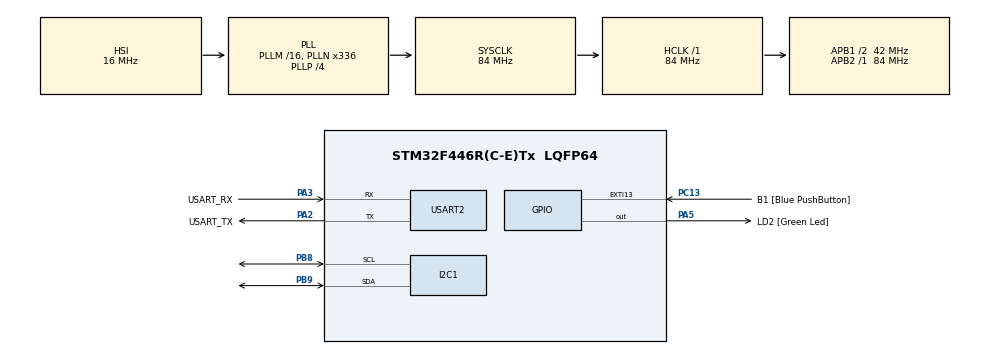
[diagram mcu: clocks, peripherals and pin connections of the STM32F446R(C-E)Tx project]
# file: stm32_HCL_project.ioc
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Mcu.Family=STM32F4
Mcu.Name=STM32F446R(C-E)Tx
Mcu.Package=LQFP64
NVIC.PriorityGroup=NVIC_PRIORITYGROUP_0
NVIC.USART2_IRQn=true\:0\:0\:false\:false\:true\:true\:true\:true
PA13.GPIO_Label=TMS
PA13.Mode=Serial_Wire
PA13.Signal=SYS_JTMS-SWDIO
PA14.GPIO_Label=TCK
PA14.Mode=Serial_Wire
PA14.Signal=SYS_JTCK-SWCLK
PA2.GPIO_Label=USART_TX
PA2.Mode=Asynchronous
PA2.Signal=USART2_TX
PA3.GPIO_Label=USART_RX
PA3.Mode=Asynchronous
PA3.Signal=USART2_RX
PA5.GPIO_Label=LD2 [Green Led]
PA5.Signal=GPIO_Output
PB3.GPIO_Label=SWO
PB3.Signal=SYS_JTDO-SWO
PB8.Mode=I2C
PB8.Signal=I2C1_SCL
PB9.Mode=I2C
PB9.Signal=I2C1_SDA
PC13.GPIO_Label=B1 [Blue PushButton]
PC13.GPIO_ModeDefaultEXTI=GPIO_MODE_IT_FALLING
PC13.Signal=GPXTI13
PC14-OSC32_IN.Mode=LSE-External-Oscillator
PC14-OSC32_IN.Signal=RCC_OSC32_IN
PC15-OSC32_OUT.Mode=LSE-External-Oscillator
PC15-OSC32_OUT.Signal=RCC_OSC32_OUT
PH0-OSC_IN.Mode=HSE-External-Oscillator
PH0-OSC_IN.Signal=RCC_OSC_IN
PH1-OSC_OUT.Mode=HSE-External-Oscillator
PH1-OSC_OUT.Signal=RCC_OSC_OUT
ProjectManager.HeapSize=0x200
ProjectManager.StackSize=0x400
ProjectManager.TargetToolchain=STM32CubeIDE
RCC.48MHZClocksFreq_Value=84000000
RCC.AHBFreq_Value=84000000
RCC.APB1CLKDivider=RCC_HCLK_DIV2
RCC.APB1Freq_Value=42000000
RCC.APB1TimFreq_Value=84000000
RCC.APB2Freq_Value=84000000
RCC.APB2TimFreq_Value=84000000
RCC.CortexFreq_Value=84000000
RCC.FLatency-AdvancedSettings=FLASH_LATENCY_2
RCC.HCLKFreq_Value=84000000
RCC.HSE_VALUE=8000000
RCC.HSI_VALUE=16000000
RCC.PLLN=336
RCC.PLLP=RCC_PLLP_DIV4
RCC.SYSCLKFreq_VALUE=84000000
RCC.SYSCLKSource=RCC_SYSCLKSOURCE_PLLCLK
RCC.USBFreq_Value=168000000
RCC.VCOOutputFreq_Value=336000000
USART2.VirtualMode=VM_ASYNC
board=NUCLEO-F446RE

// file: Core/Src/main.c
/* USER CODE BEGIN Header */
/**
  ******************************************************************************
  * @file           : main.c
  * @brief          : Main program body for 4-DOF Robotic Arm using PCA9685 & UART
  ******************************************************************************
  */
/* USER CODE END Header */
#include "main.h"

/* USER CODE BEGIN Includes */
#include <stdio.h>
#include <string.h>
/* USER CODE END Includes */

/* USER CODE BEGIN PD */
#define PCA9685_ADDR 0x80  // 0x40 shifted left by 1 bit for HAL I2C
/* USER CODE END PD */

I2C_HandleTypeDef hi2c1;
UART_HandleTypeDef huart2;

/* USER CODE BEGIN PV */
char rx_buffer[50];
uint8_t rx_byte;
volatile int rx_index = 0;     // volatile keyword ensures interrupt updates this
volatile int data_ready = 0;   // volatile keyword ensures interrupt updates this
/* USER CODE END PV */

void SystemClock_Config(void);
static void MX_GPIO_Init(void);
static void MX_USART2_UART_Init(void);
static void MX_I2C1_Init(void);

/* USER CODE BEGIN PFP */
void PCA9685_Init(I2C_HandleTypeDef *hi2c);
void PCA9685_SetServoAngle(I2C_HandleTypeDef *hi2c, uint8_t channel, float angle);
/* USER CODE END PFP */

/* USER CODE BEGIN 0 */
void PCA9685_Init(I2C_HandleTypeDef *hi2c) {
    uint8_t buf[2];

    // Set Sleep mode to change prescaler
    buf[0] = 0x00; buf[1] = 0x10;
    HAL_I2C_Master_Transmit(hi2c, PCA9685_ADDR, buf, 2, HAL_MAX_DELAY);
    HAL_Delay(10);

    // Set Prescaler for 50Hz (Standard Servo Frequency)
    buf[0] = 0xFE; buf[1] = 121; // 25MHz / (4096 * 50Hz) - 1
    HAL_I2C_Master_Transmit(hi2c, PCA9685_ADDR, buf, 2, HAL_MAX_DELAY);

    // Enable Auto-Increment and wake up
    buf[0] = 0x00; buf[1] = 0x20;
    HAL_I2C_Master_Transmit(hi2c, PCA9685_ADDR, buf, 2, HAL_MAX_DELAY);
    HAL_Delay(10);
}

void PCA9685_SetServoAngle(I2C_HandleTypeDef *hi2c, uint8_t channel, float angle) {
    // Constrain angle to prevent mechanical stalling
    if (angle < 0.0) angle = 0.0;
    if (angle > 180.0) angle = 180.0;

    // Map 0-180 degrees to 102-512 ticks (approx 500us to 2500us)
    uint16_t pulse_length = (uint16_t)(102 + (angle * (512 - 102) / 180.0));

    uint8_t buf[5];
    buf[0] = 0x06 + (4 * channel); // Register address for LED0_ON_L
    buf[1] = 0;                    // ON_L
    buf[2] = 0;                    // ON_H
    buf[3] = pulse_length & 0xFF;  // OFF_L
    buf[4] = pulse_length >> 8;    // OFF_H

    HAL_I2C_Master_Transmit(hi2c, PCA9685_ADDR, buf, 5, HAL_MAX_DELAY);
}
/* USER CODE END 0 */

int main(void)
{
  /* MCU Configuration--------------------------------------------------------*/
  /* Reset of all peripherals, Initializes the Flash interface and the Systick. */
  HAL_Init();

  /* Configure the system clock */
  SystemClock_Config();

  /* Initialize all configured peripherals */
  MX_GPIO_Init();
  MX_USART2_UART_Init();
  MX_I2C1_Init();

  /* USER CODE BEGIN 2 */
  PCA9685_Init(&hi2c1); // Initialize the servo driver over I2C

  // Arm the UART interrupt to listen for the very first byte from Python
  HAL_UART_Receive_IT(&huart2, &rx_byte, 1);
  /* USER CODE END 2 */

  /* Infinite loop */
  /* USER CODE BEGIN WHILE */
  while (1)
  {
      // Check if a full string was received from Python via UART
      if (data_ready) {
          float t1, t2, t3, t4;

          // Parse the incoming string (Format expected: "45.0,90.0,30.5,15.0\n")
          if (sscanf(rx_buffer, "%f,%f,%f,%f", &t1, &t2, &t3, &t4) == 4) {

              // Apply calculated kinematic angles to physical servos
              PCA9685_SetServoAngle(&hi2c1, 0, t1); // Base
              PCA9685_SetServoAngle(&hi2c1, 2, t2); // Shoulder
              PCA9685_SetServoAngle(&hi2c1, 4, t3); // Elbow
              PCA9685_SetServoAngle(&hi2c1, 6, t4); // Gripper
          }
          data_ready = 0; // Reset flag to wait for next message
      }
    /* USER CODE END WHILE */

  }
}

void SystemClock_Config(void)
{
  RCC_OscInitTypeDef RCC_OscInitStruct = {0};
  RCC_ClkInitTypeDef RCC_ClkInitStruct = {0};

  /** Configure the main internal regulator output voltage
  */
  __HAL_RCC_PWR_CLK_ENABLE();
  __HAL_PWR_VOLTAGESCALING_CONFIG(PWR_REGULATOR_VOLTAGE_SCALE3);

  /** Initializes the RCC Oscillators according to the specified parameters
  * in the RCC_OscInitTypeDef structure.
  */
  RCC_OscInitStruct.OscillatorType = RCC_OSCILLATORTYPE_HSI;
  RCC_OscInitStruct.HSIState = RCC_HSI_ON;
  RCC_OscInitStruct.HSICalibrationValue = RCC_HSICALIBRATION_DEFAULT;
  RCC_OscInitStruct.PLL.PLLState = RCC_PLL_ON;
  RCC_OscInitStruct.PLL.PLLSource = RCC_PLLSOURCE_HSI;
  RCC_OscInitStruct.PLL.PLLM = 16;
  RCC_OscInitStruct.PLL.PLLN = 336;
  RCC_OscInitStruct.PLL.PLLP = RCC_PLLP_DIV4;
  RCC_OscInitStruct.PLL.PLLQ = 2;
  RCC_OscInitStruct.PLL.PLLR = 2;
  if (HAL_RCC_OscConfig(&RCC_OscInitStruct) != HAL_OK)
  {
    Error_Handler();
  }

  /** Initializes the CPU, AHB and APB buses clocks
  */
  RCC_ClkInitStruct.ClockType = RCC_CLOCKTYPE_HCLK|RCC_CLOCKTYPE_SYSCLK
                              |RCC_CLOCKTYPE_PCLK1|RCC_CLOCKTYPE_PCLK2;
  RCC_ClkInitStruct.SYSCLKSource = RCC_SYSCLKSOURCE_PLLCLK;
  RCC_ClkInitStruct.AHBCLKDivider = RCC_SYSCLK_DIV1;
  RCC_ClkInitStruct.APB1CLKDivider = RCC_HCLK_DIV2;
  RCC_ClkInitStruct.APB2CLKDivider = RCC_HCLK_DIV1;

  if (HAL_RCC_ClockConfig(&RCC_ClkInitStruct, FLASH_LATENCY_2) != HAL_OK)
  {
    Error_Handler();
  }
}

static void MX_I2C1_Init(void)
{
  hi2c1.Instance = I2C1;
  hi2c1.Init.ClockSpeed = 100000;
  hi2c1.Init.DutyCycle = I2C_DUTYCYCLE_2;
  hi2c1.Init.OwnAddress1 = 0;
  hi2c1.Init.AddressingMode = I2C_ADDRESSINGMODE_7BIT;
  hi2c1.Init.DualAddressMode = I2C_DUALADDRESS_DISABLE;
  hi2c1.Init.OwnAddress2 = 0;
  hi2c1.Init.GeneralCallMode = I2C_GENERALCALL_DISABLE;
  hi2c1.Init.NoStretchMode = I2C_NOSTRETCH_DISABLE;
  if (HAL_I2C_Init(&hi2c1) != HAL_OK)
  {
    Error_Handler();
  }
}

static void MX_USART2_UART_Init(void)
{
  huart2.Instance = USART2;
  huart2.Init.BaudRate = 115200;
  huart2.Init.WordLength = UART_WORDLENGTH_8B;
  huart2.Init.StopBits = UART_STOPBITS_1;
  huart2.Init.Parity = UART_PARITY_NONE;
  huart2.Init.Mode = UART_MODE_TX_RX;
  huart2.Init.HwFlowCtl = UART_HWCONTROL_NONE;
  huart2.Init.OverSampling = UART_OVERSAMPLING_16;
  if (HAL_UART_Init(&huart2) != HAL_OK)
  {
    Error_Handler();
  }
}

static void MX_GPIO_Init(void)
{
  /* GPIO Ports Clock Enable */
  __HAL_RCC_GPIOH_CLK_ENABLE();
  __HAL_RCC_GPIOA_CLK_ENABLE();
  __HAL_RCC_GPIOB_CLK_ENABLE();
}

/* USER CODE BEGIN 4 */
// This interrupt fires every time a single byte is received over UART
void HAL_UART_RxCpltCallback(UART_HandleTypeDef *huart) {
    if(huart->Instance == USART2) {
        if(rx_byte == '\n') {
            rx_buffer[rx_index] = '\0'; // Terminate the string
            data_ready = 1;             // Tell the while loop to process it
            rx_index = 0;               // Reset buffer index for the next message
        } else {
            rx_buffer[rx_index++] = rx_byte; // Add character to buffer
            if(rx_index >= 50) rx_index = 0; // Prevent buffer overflow
        }
        // Re-arm interrupt to catch the next byte
        HAL_UART_Receive_IT(&huart2, &rx_byte, 1);
    }
}
/* USER CODE END 4 */

void Error_Handler(void)
{
  __disable_irq();
  while (1)
  {
  }
}
